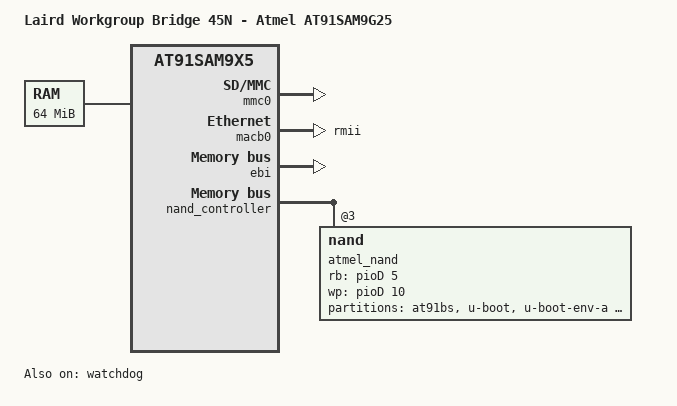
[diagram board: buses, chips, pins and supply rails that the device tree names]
// SPDX-License-Identifier: GPL-2.0
/*
 * at91-wb45n.dtsi - Device Tree include file for WB45NBT CPU module
 *
 *  Copyright (C) 2018-2020 Laird Connectivity
 *
 */

#include "at91sam9g25.dtsi"

/ {
	model = "Laird Workgroup Bridge 45N - Atmel AT91SAM9G25";
	compatible = "laird,wb45n", "atmel,at91sam9g25", "atmel,at91sam9x5";

	chosen {
		stdout-path = "serial0:115200n8";
	};

	memory {
		reg = <0x20000000 0x4000000>;
	};

	ahb {
		apb {
			rtc@fffffeb0 {
				status = "okay";
			};
		};
	};
};

&pinctrl {
	board {
		pinctrl_usba_vbus: usba_vbus {
			atmel,pins =
				<AT91_PIOB 11 AT91_PERIPH_GPIO AT91_PINCTRL_DEGLITCH>;		/* PB11 gpio vbus sense, deglitch */
		};

		pinctrl_usb_vbus: usb_vbus {
			atmel,pins =
				<AT91_PIOB 12 AT91_PERIPH_GPIO AT91_PINCTRL_NONE>,
				<AT91_PIOA 31 AT91_PERIPH_GPIO AT91_PINCTRL_NONE>,
				<AT91_PIOB 13 AT91_PERIPH_GPIO AT91_PINCTRL_DEGLITCH>;
		};

		pinctrl_wifi_pmu_en: wifi_pmu_en {
			atmel,pins =
				<AT91_PIOA 25 AT91_PERIPH_GPIO AT91_PINCTRL_PULL_UP>;
		};

		pinctrl_nand0_wp: nand0_wp {
			atmel,pins =
				<AT91_PIOD 10 AT91_PERIPH_GPIO AT91_PINCTRL_NONE>;
		};
	};
};

&shutdown_controller {
	atmel,wakeup-mode = "low";
};

&watchdog {
	atmel,idle-halt;
	status = "okay";
};

&slow_xtal {
	clock-frequency = <32768>;
};

&main_xtal {
	clock-frequency = <12000000>;
};

&mmc0 {
	pinctrl-names = "default";
	pinctrl-0 = <&pinctrl_mmc0_slot0_clk_cmd_dat0 &pinctrl_mmc0_slot0_dat1_3>;
	status = "okay";

	slot@0 {
		reg = <0>;
		bus-width = <4>;
	};
};

&macb0 {
	#address-cells = <1>;
	#size-cells = <0>;

	phy-mode = "rmii";
};

&spi0 {
	cs-gpios = <&pioA 14 0>, <&pioA 7 0>, <0>, <0>;
};

&ebi {
	pinctrl-names = "default";
	pinctrl-0 = <&pinctrl_ebi_addr_nand &pinctrl_ebi_data_0_7>;

	status = "okay";
};

&nand_controller {
	status = "okay";

	nand: nand@3 {
		pinctrl-names = "default";
		pinctrl-0 = <&pinctrl_nand_cs &pinctrl_nand_rb &pinctrl_nand_oe_we 
			&pinctrl_nand0_wp>;

		reg = <0x3 0x0 0x800000>;
		rb-gpios = <&pioD 5 GPIO_ACTIVE_HIGH>;
		cs-gpios = <&pioD 4 GPIO_ACTIVE_HIGH>;
		nand-bus-width = <8>;
		nand-ecc-mode = "hw";
		nand-ecc-strength = <4>;
		nand-ecc-step-size = <512>;
		nand-on-flash-bbt;
		label = "atmel_nand";

		wp-gpios = <&pioD 10 GPIO_ACTIVE_HIGH>;

		partitions {
			compatible = "fixed-partitions";
			#address-cells = <1>;
			#size-cells = <1>;

			at91bootstrap@0 {
				label = "at91bs";
				reg = <0x0 0x20000>;
			};

			uboot@20000 {
				label = "u-boot";
				reg = <0x20000 0x80000>;
			};

			ubootenv@a0000 {
				label = "u-boot-env-a";
				reg = <0xa0000 0x20000>;
			};

			ubootenv@c0000 {
				label = "u-boot-env-b";
				reg = <0xc0000 0x20000>;
			};

			kernel-a@e0000 {
				label = "kernel-a";
				reg = <0xe0000 0x280000>;
			};

			kernel-b@360000 {
				label = "kernel-b";
				reg = <0x360000 0x280000>;
			};

			rootfs-a@5e0000 {
				label = "rootfs-a";
				reg = <0x5e0000 0x2600000>;
			};

			rootfs-b@2be0000 {
				label = "rootfs-b";
				reg = <0x2be0000 0x2600000>;
			};

			user@51e0000 {
				label = "user";
				reg = <0x51e0000 0x2d20000>;
			};

			logs@7fa0000 {
				label = "logs";
				reg = <0x7f00000 0x80000>;
			};
		};
	};
};

&usb0 {
	pinctrl-names = "default";
	pinctrl-0 = <&pinctrl_usb_vbus>;

	num-ports = <2>;

	atmel,vbus-gpio = <&pioB 12 GPIO_ACTIVE_HIGH>, <&pioA 31 GPIO_ACTIVE_HIGH>;
	atmel,oc-gpio = <&pioB 13 GPIO_ACTIVE_LOW>, <0>;
};

&usb2 {
	pinctrl-names = "default";
	pinctrl-0 = <&pinctrl_usba_vbus>;

	atmel,vbus-gpio = <&pioB 11 GPIO_ACTIVE_HIGH>;
};

&tcb0 {
	timer0: timer@0 {
		compatible = "atmel,tcb-timer";
		reg = <0>;
	};

	timer1: timer@1 {
		compatible = "atmel,tcb-timer";
		reg = <1>;
	};
};
